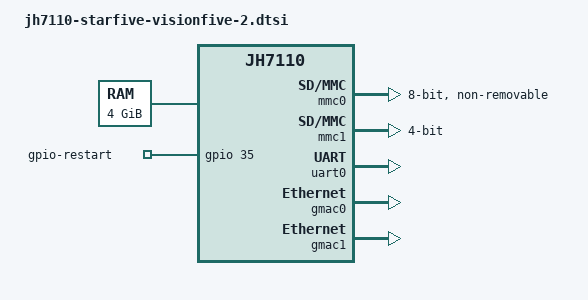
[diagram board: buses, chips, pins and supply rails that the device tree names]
// SPDX-License-Identifier: GPL-2.0 OR MIT
/*
 * Copyright (C) 2022 StarFive Technology Co., Ltd.
 * Copyright (C) 2022 Emil Renner Berthing <kernel@esmil.dk>
 */

/dts-v1/;
#include "jh7110.dtsi"
#include "jh7110-pinfunc.h"
#include <dt-bindings/gpio/gpio.h>

/ {
	aliases {
		serial0 = &uart0;
		ethernet0 = &gmac0;
		ethernet1 = &gmac1;
	};

	chosen {
		stdout-path = "serial0:115200n8";
	};

	cpus {
		timebase-frequency = <4000000>;
	};

	memory@40000000 {
		device_type = "memory";
		reg = <0x0 0x40000000 0x1 0x0>;
	};

	gpio-restart {
		compatible = "gpio-restart";
		gpios = <&gpio 35 GPIO_ACTIVE_HIGH>;
		priority = <224>;
	};
};

&mmc0 {
	max-frequency = <100000000>;
	card-detect-delay = <300>;
	bus-width = <8>;
	cap-mmc-highspeed;
	mmc-ddr-1_8v;
	mmc-hs200-1_8v;
	non-removable;
	cap-mmc-hw-reset;
	post-power-on-delay-ms = <200>;
	status = "okay";
};

&mmc1 {
	max-frequency = <100000000>;
	card-detect-delay = <300>;
	bus-width = <4>;
	no-sdio;
	no-mmc;
	broken-cd;
	cap-sd-highspeed;
	post-power-on-delay-ms = <200>;
	status = "okay";
};

&osc {
	clock-frequency = <24000000>;
};

&rtc_osc {
	clock-frequency = <32768>;
};

&gmac0_rmii_refin {
	clock-frequency = <50000000>;
};

&gmac0_rgmii_rxin {
	clock-frequency = <125000000>;
};

&gmac1_rmii_refin {
	clock-frequency = <50000000>;
};

&gmac1_rgmii_rxin {
	clock-frequency = <125000000>;
};

&i2stx_bclk_ext {
	clock-frequency = <12288000>;
};

&i2stx_lrck_ext {
	clock-frequency = <192000>;
};

&i2srx_bclk_ext {
	clock-frequency = <12288000>;
};

&i2srx_lrck_ext {
	clock-frequency = <192000>;
};

&tdm_ext {
	clock-frequency = <49152000>;
};

&mclk_ext {
	clock-frequency = <12288000>;
};

&uart0 {
	pinctrl-names = "default";
	pinctrl-0 = <&uart0_pins>;
	status = "okay";
};

&gpio {
	uart0_pins: uart0-0 {
		tx-pins {
			pinmux = <GPIOMUX(5, GPOUT_SYS_UART0_TX, GPOEN_ENABLE, GPI_NONE)>;
			bias-disable;
			drive-strength = <12>;
			input-disable;
			input-schmitt-disable;
			slew-rate = <0>;
		};

		rx-pins {
			pinmux = <GPIOMUX(6, GPOUT_LOW, GPOEN_DISABLE, GPI_SYS_UART0_RX)>;
			bias-disable; /* external pull-up */
			drive-strength = <2>;
			input-enable;
			input-schmitt-enable;
			slew-rate = <0>;
		};
	};
};

&uart0 {
	pinctrl-names = "default";
	pinctrl-0 = <&uart0_pins>;
	status = "okay";
};

&gmac0 {
	status = "okay";
};

&gmac1 {
	status = "okay";
};
